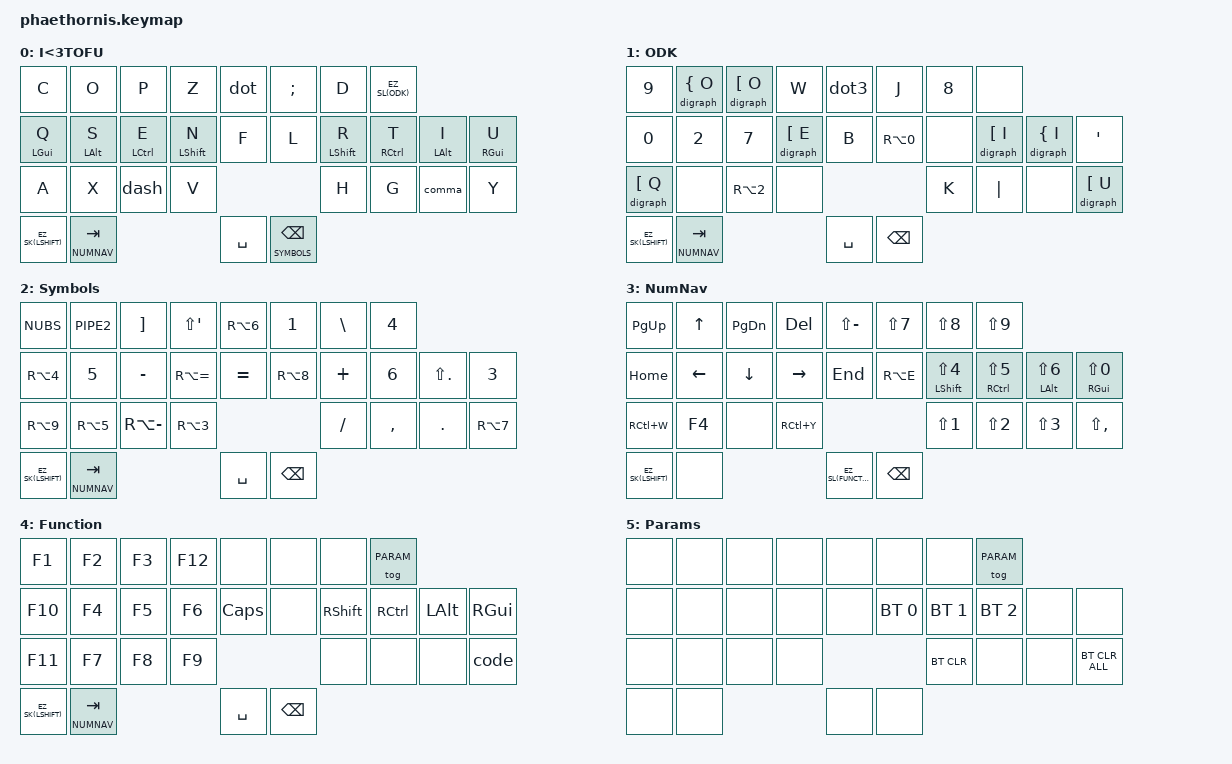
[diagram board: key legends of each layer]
//#include <dt-bindings/zmk/input_transform.h>
#include <dt-bindings/zmk/bt.h>
#include <dt-bindings/zmk/keys.h>
#include <behaviors.dtsi>

// AZERTY : numbers are shifted, not direct access
#define S_N0  &kp LS(N0)
#define S_N1  &kp LS(N1)
#define S_N2  &kp LS(N2)
#define S_N3  &kp LS(N3)
#define S_N4  &kp LS(N4)
#define S_N5  &kp LS(N5)
#define S_N6  &kp LS(N6)
#define S_N7  &kp LS(N7)
#define S_N8  &kp LS(N8)
#define S_N9  &kp LS(N9)

/**
 * Arsenik Symbols:
 *   ^<>$% @&*'`
 *   {()}= \+-/"
 *   ~[]_# |!;:?
 */

// AZERTY first row
#define S_CARET &kp RA(N9)
#define S_LT    &kp NUBS
#define S_GT    &kp PIPE2
#define S_DLLR  &kp RBKT
#define S_PRCNT &kp LS(SQT)
#define S_AT    &kp RA(N0)
#define S_AMPS  &kp N1
#define S_STAR  &kp BSLH
#define S_SQT   &kp N4
#define S_GRAVE &kp RA(N7)

// AZERTY second row
#define S_LBRC  &kp RA(N4)
#define S_LPAR  &kp N5
#define S_RPAR  &kp MINUS
#define S_RBRC  &kp RA(EQUAL)
#define S_EQUAL &kp EQUAL
#define S_BSLH  &kp RA(N8)
#define S_PLUS  &kp PLUS
#define S_MINUS &kp N6
#define S_FSLH  &kp LS(DOT)
#define S_DQT   &kp N3

// AZERTY third row
#define S_TILDE &kp RA(N2)
#define S_LBKT   &kp RA(N5)
#define S_RBKT   &kp RA(MINUS)
#define S_UNDER  &kp N8
#define S_HASH   &kp RA(N3)
#define S_PIPE   &kp RA(N6)
#define S_EXCL   &kp FSLH
#define S_SEMI   &kp COMMA
#define S_COLON  &kp DOT
#define S_QMARK  &kp LS(M)

// AZERTY extra

#define S_COMMA  &kp M
#define S_DOT    &kp LS(COMMA)
#define S_EURO   &kp RA(E)
#define S_DEGR  &kp LS(MINUS) // °


// special chars (available in windows AZERTY)
#define C_EACU  &kp N2  // é
#define C_AGRV  &kp N0  // à
#define C_EGRV  &kp N7  // è
#define C_UGRV  &kp SQT // ù
#define C_CCDL  &kp N9  // ç
#define C_MU    &kp PIPE // µ

// circumflex accent
#define C_ACRC &digraph LBKT Q // â
#define C_ECRC &digraph LBKT E // ê
#define C_ICRC &digraph LBKT I // î
#define C_OCRC &digraph LBKT O // ô
#define C_UCRC &digraph LBKT U // û
#define C_YCRC &digraph LBKT Y // ŷ

// diaeresis
#define C_ADIA &digraph LBRC Q // ä
#define C_EDIA &digraph LBRC E // ë
#define C_IDIA &digraph LBRC I // ï
#define C_ODIA &digraph LBRC O // ö
#define C_UDIA &digraph LBRC U // ü
#define C_YDIA &digraph LBRC Y // ÿ


// ===== SHORTCUTS ======

#define X_UNDO  &kp RC(W)
#define X_CUT   &kp RC(X)
#define X_COPY  &kp RC(C)
#define X_PASTE &kp RC(V)
#define X_REDO  &kp RC(Y)

#define X_CTL_W &kp RC(Z)
#define X_SAVE  &kp RC(S)
#define X_ALL   &kp RC(Q)


// ======================================
// =============== LAYERS ===============
// ======================================

// Human-readable constants for the layer indexes.
// Make sure to update this table if you edit the order / number of layers in the keymap.
#define BASE          0
#define ODK           1
#define SYMBOLS       2
#define NUMNAV        3
#define FUNCTION      4
#define PARAM         5
#define GAMING        6
#define GAMING2       7

&sl { ignore-modifiers; }; // keep one-shot-mods when chained into a one-shot-layer
&sk { quick-release; };    // must-have! (lots of false positives otherwise)

#define EZ_SL(layer)  bsl (layer) (layer)
#define EZ_SK(mod)    bsk (mod) (mod)
#define EZ_LSK(mod)   lbsk (mod) (mod)

// ======================================
// ================= HRM ================
// ======================================

#define HRM_Q   &hrm LGUI Q
#define HRM_S   &hrm LALT S
#define HRM_E   &hrm LCTL E
#define HRM_N   &hrm LSHIFT N

#define HRM_R   &hrm LSHIFT R
#define HRM_T   &hrm RCTL T
#define HRM_I   &hrm LALT I
#define HRM_U   &hrm RGUI U

#define HRM_4   &hrm LSHIFT LS(N4)
#define HRM_5   &hrm RCTL LS(N5)
#define HRM_6   &hrm LALT LS(N6)
#define HRM_0   &hrm RGUI LS(N0)


// ======================================
// ========= DEADKEY & THUMBS ===========
// ======================================

#define SL_ODK        &EZ_SL(ODK)

#define LTHUMB_HOME   &EZ_SK(LSHIFT)
#define LTHUMB_REACH  &lth NUMNAV TAB
#define RTHUMB_REACH  &kp SPACE
#define RTHUMB_HOME   &lth SYMBOLS BACKSPACE

// Go to fuction with both THUM_B REACH
#define NN_RTHUMB_REACH &EZ_SL(FUNCTION)


// ======================================
// ============== TIMINGS ===============
// ======================================

//HRM and behaviors
#define TAPPING_TERM 250
#define SHORT_TAPPING_TERM 180
#define QUICK_TAP 150

//COMBOS
#define REQUIRE_PRIOR_IDLE 250
#define REQUIRE_PRIOR_IDLE_FAST 150
#define TIMEOUT_MS_FAST 10
#define TIMEOUT_MS_SLOW 30



// ╭──────┬──────┬──────┬──────┬──────╮  ╭──────┬──────┬──────┬──────┬──────╮
//           00     01     02     03        04     05     06     07
// ├──────┼──────┼──────┼──────┼──────┤  ├──────┼──────┼──────┼──────┼──────┤
//    08     09     10     11     12        13     14     15     16     17
// ├──────┼──────┼──────┼──────┼──────┤  ├──────┼──────┼──────┼──────┼──────┤
//    18     19     20     21                      22     23     24     25
// ╰──────┴──────┼──────┼──────┼──────┤  ├──────┼──────┼──────┴──────┴──────╯
//                         26     27        28     29
//                      ╰──────┴──────╯  ╰──────┴──────╯

/ {
    combos {
        compatible = "zmk,combos";

        esc {
            bindings = <&kp ESCAPE>;
            key-positions = <1 0>;
            require-prior-idle-ms = <0>;
            timeout-ms = <TIMEOUT_MS_FAST>;
        };

        enter {
            bindings = <&kp ENTER>;
            key-positions = <16 15 14>;
            require-prior-idle-ms = <0>;
            timeout-ms = <TIMEOUT_MS_SLOW>;
            slow-release;
        };

        shift_tab {
            bindings = <&kp LS(TAB)>;
            key-positions = <9 10>;
            require-prior-idle-ms = <REQUIRE_PRIOR_IDLE_FAST>;
            timeout-ms = <TIMEOUT_MS_FAST>;
        };

        printscreen {
            bindings = <&kp PRINTSCREEN>;
            key-positions = <19 20 21>;
            require-prior-idle-ms = <REQUIRE_PRIOR_IDLE>;
            timeout-ms = <TIMEOUT_MS_SLOW>;
        };

        go_to_params {
            bindings = <&tog PARAM>;
            key-positions = <5 6 7>;
            layers = <FUNCTION PARAM>;
            require-prior-idle-ms = <REQUIRE_PRIOR_IDLE>;
            timeout-ms = <TIMEOUT_MS_SLOW>;
        };
    };
};


/ {
    behaviors {

        // AZERTY SPECIFIC MOD MORPH
        dash: minus_qmark {
            compatible = "zmk,behavior-mod-morph";
            #binding-cells = <0>;
            bindings = <S_MINUS>, <S_QMARK>;
            mods = <(MOD_LSFT|MOD_RSFT)>;
        };

        comma: comma_semi {
            compatible = "zmk,behavior-mod-morph";
            #binding-cells = <0>;
            bindings = <S_COMMA>, <S_SEMI>;
            mods = <(MOD_LSFT|MOD_RSFT)>;
        };

        dot: dot_colon {
            compatible = "zmk,behavior-mod-morph";
            #binding-cells = <0>;
            bindings = <S_DOT>, <S_COLON>;
            mods = <(MOD_LSFT|MOD_RSFT)>;
        };

        hrm: homerow_mods {
            compatible = "zmk,behavior-hold-tap";
            #binding-cells = <2>;
            tapping-term-ms = <TAPPING_TERM>;
            quick-tap-ms = <QUICK_TAP>;
            flavor = "tap-preferred";
            bindings = <&kp>, <&kp>;
        };

        lth: lt_hold_preferred { // same as lt, but with hold-preferred
            compatible = "zmk,behavior-hold-tap";
            #binding-cells = <2>;
            tapping-term-ms = <SHORT_TAPPING_TERM>;
            quick-tap-ms = <QUICK_TAP>;
            flavor = "hold-preferred";
            bindings = <&mo>, <&kp>; //&mo = momentary layer
        };

        // like ZMK's sticky layer (sl) but with a more robust timing
        osl: one_shot_layer {
            compatible = "zmk,behavior-macro-one-param";
            #binding-cells = <1>;
            tap-ms = <0>;
            wait-ms = <0>;
            bindings = <&macro_param_1to1>, <&macro_tap &sl MACRO_PLACEHOLDER>;
        };

        bsl: better_sticky_layer {
            compatible = "zmk,behavior-hold-tap";
            #binding-cells = <2>;
            tapping-term-ms = <TAPPING_TERM>;
            flavor = "tap-preferred";
            bindings = <&mo>, <&osl>;
        };

        // like ZMK's sticky key (sk) but with a more robust timing
        osm: one_shot_modifier {
            compatible = "zmk,behavior-macro-one-param";
            #binding-cells = <1>;
            tap-ms = <0>;
            wait-ms = <0>;
            bindings = <&macro_param_1to1>, <&macro_tap &sk MACRO_PLACEHOLDER>;
        };

        bsk: better_sticky_key {
            compatible = "zmk,behavior-hold-tap";
            #binding-cells = <2>;
            tapping-term-ms = <TAPPING_TERM>;
            flavor = "tap-preferred";
            bindings = <&kp>, <&osm>;
        };

    };
};

/ {
    macros {
        digraph: digraph {
            compatible = "zmk,behavior-macro-two-param";
            #binding-cells = <2>;
            tap-ms = <0>;
            wait-ms = <0>;
            bindings = <
            &macro_param_1to1 &kp MACRO_PLACEHOLDER
            &macro_param_2to1 &kp MACRO_PLACEHOLDER>;
        };

        dot3: suspension {
            compatible = "zmk,behavior-macro";
            #binding-cells = <0>;
            tap-ms = <0>;
            wait-ms = <0>;
            bindings = <S_DOT S_DOT S_DOT>;
            label = "SUSPENSION";
        };

        code: code {
            compatible = "zmk,behavior-macro";
            #binding-cells = <0>;
            tap-ms = <30>;
            wait-ms = <10>;
            bindings =
            <S_N9 S_N4 S_N8 S_N0 S_N0 S_N8 S_N5 S_N1 S_N3 &kp ENTER>;
            label = "CODE";
        };
    };
};

/ {
    keymap {
        compatible = "zmk,keymap";

        base_layer {
            display-name = "I<3TOFU";
            bindings = <
            &kp C    &kp O    &kp P    &kp Z       &dot       &kp SEMI    &kp D    SL_ODK
            HRM_Q    HRM_S    HRM_E    HRM_N    &kp F       &kp L      HRM_R       HRM_T    HRM_I      HRM_U
            &kp A    &kp X    &dash    &kp V                           &kp H       &kp G    &comma     &kp Y
            LTHUMB_HOME  LTHUMB_REACH       RTHUMB_REACH  RTHUMB_HOME
            >;
        };

        one_dead_key {
            display-name = "ODK";
            bindings = <
            C_CCDL    C_ODIA     C_OCRC    &kp W       &dot3    &kp J      S_UNDER   &none
            C_AGRV    C_EACU    C_EGRV     C_ECRC    &kp B       S_AT     &none      C_ICRC    C_IDIA    C_UGRV
            C_ACRC    &none     S_TILDE    &none                          &kp K      C_MU      &none     C_UCRC
            LTHUMB_HOME   LTHUMB_REACH       RTHUMB_REACH  &kp BACKSPACE
            >;
        };

        symbols_layer {
            display-name = "Symbols";
            bindings = <
            S_LT      S_GT      S_DLLR  S_PRCNT      S_PIPE    S_AMPS    S_STAR     S_SQT
            S_LBRC     S_LPAR    S_RPAR    S_RBRC  S_EQUAL      S_BSLH    S_PLUS    S_MINUS    S_FSLH     S_DQT
            S_CARET    S_LBKT    S_RBKT    S_HASH                         S_EXCL    S_SEMI     S_COLON    S_GRAVE
            LTHUMB_HOME  LTHUMB_REACH      RTHUMB_REACH  &kp BACKSPACE
            >;
        };

        num_nav {
            display-name = "NumNav";
            bindings = <
            &kp PG_UP   &kp UP      &kp PG_DN    &kp DEL         S_DEGR    S_N7     S_N8     S_N9
            &kp HOME       &kp LEFT    &kp DOWN    &kp RIGHT    &kp END         S_EURO    HRM_4    HRM_5    HRM_6    HRM_0
            X_UNDO      &kp F4      &none       X_REDO                                 S_N1     S_N2     S_N3     S_DOT
            LTHUMB_HOME  &none           NN_RTHUMB_REACH    &kp BACKSPACE
            >;
        };

        func {
            display-name = "Function";
            bindings = <
            &kp F1    &kp F2    &kp F3   &kp F12             &none    &none       &none      &tog PARAM
            &kp F10    &kp F4    &kp F5    &kp F6   &kp CAPSLOCK        &none    &kp RSHIFT  &kp RCTRL  &kp LALT    &kp RGUI
            &kp F11    &kp F7    &kp F8    &kp F9                                &none       &none      &none       &code
            LTHUMB_HOME  LTHUMB_REACH     RTHUMB_REACH  &kp BACKSPACE
            >;
        };

        params {
            display-name = "Params";
            bindings = <
            &none    &none    &none    &none               &none           &none           &none           &tog PARAM
            &none    &none    &none    &none    &none               &bt BT_SEL 0    &bt BT_SEL 1    &bt BT_SEL 2    &none    &none
            &none    &none    &none    &none                                        &bt BT_CLR      &none           &none    &bt BT_CLR_ALL
            &none    &none               &none           &none
            >;
        };
    };
};
